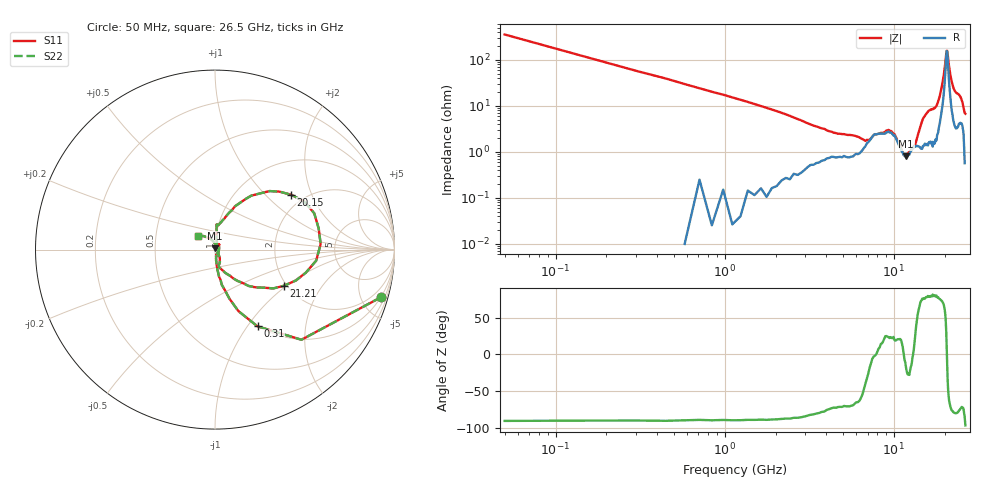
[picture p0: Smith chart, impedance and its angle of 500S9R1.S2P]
!  American Technical Ceramics  Date:  3/6/98
!  One Norden Lane
!  Huntington Station,  NY.  11746-2102
!  Tel:  (516) 547-5700  Fax:  (516) 547-5748
!  Part Number  500S9R1
!  Description: Broadband Microwave capacitor
!  Application:
# GHZ S DB R 50
! Freq  |S11|  S11 Ph  |S21|  S21 Ph  |S12|  S12 Ph  |S22|  S22 Ph
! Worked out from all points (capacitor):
!   201 points, 50 MHz to 26.5 GHz, reference 50 ohm
!   read as one part in series: C = 9.14 pF near 180 MHz
!   lowest |Z| = 797 mohm at 11.82 GHz (marker M1)
!   series resonance near 7.871 GHz, so ESL is about 45 pH
!   S11 on the Smith chart (normalised r, x): 50 MHz: 0.99, -6.96; 310 MHz: 0.99, -1.12; 20.15 GHz: 1.71, +1.44; 21.21 GHz: 1.92, -0.96; 26.5 GHz: 0.82, +0.12
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0.05  -0.34 -16.0  -11.38 74.8  -11.38 74.8  -0.34 -16.0
0.18  -3.15 -46.2  -2.86 44.2  -2.86 44.2  -3.15 -46.2
0.31  -6.22 -61.0  -1.16 29.3  -1.16 29.3  -6.22 -61.0
1.9  -21.62 -83.8  -0.04 4.8  -0.04 4.8  -21.62 -83.8
4.55  -29.49 -76.3  -0.07 0.9  -0.07 0.9  -29.49 -76.3
7.46  -33.85 -21.6  -0.20 -0.2  -0.20 -0.2  -33.85 -21.6
8.91  -29.66 46.1  -0.23 0.1  -0.23 0.1  -29.66 46.1
10.89  -32.12 76.7  -0.17 0.9  -0.17 0.9  -32.12 76.7
11.82  -41.68 89.6  -0.13 0.8  -0.13 0.8  -41.68 89.6
12.35  -47.44 38.3  -0.12 0.7  -0.12 0.7  -47.44 38.3
13.28  -34.28 54.7  -0.13 0.5  -0.13 0.5  -34.28 54.7
14.99  -20.45 84.3  -0.20 -0.6  -0.20 -0.6  -20.45 84.3
17.77  -17.47 84.6  -0.33 -2.8  -0.33 -2.8  -17.47 84.6
19.36  -10.63 62.0  -1.21 -12.3  -1.21 -12.3  -10.63 62.0
20.15  -5.63 35.7  -4.63 -20.9  -4.63 -20.9  -5.63 35.7
20.55  -4.59 11.5  -8.52 -0.2  -8.52 -0.2  -4.59 11.5
21.21  -7.29 -27.9  -3.51 32.4  -3.51 32.4  -7.29 -27.9
22.14  -14.35 -57.4  -1.06 21.8  -1.06 21.8  -14.35 -57.4
24.52  -23.45 -66.6  -0.65 14.5  -0.65 14.5  -23.45 -66.6
25.31  -36.17 46.3  -0.58 14.5  -0.58 14.5  -36.17 46.3
25.71  -26.31 102.4  -0.52 14.1  -0.52 14.1  -26.31 102.4
26.5  -18.28 142.5  -0.59 13.1  -0.59 13.1  -18.28 142.5
